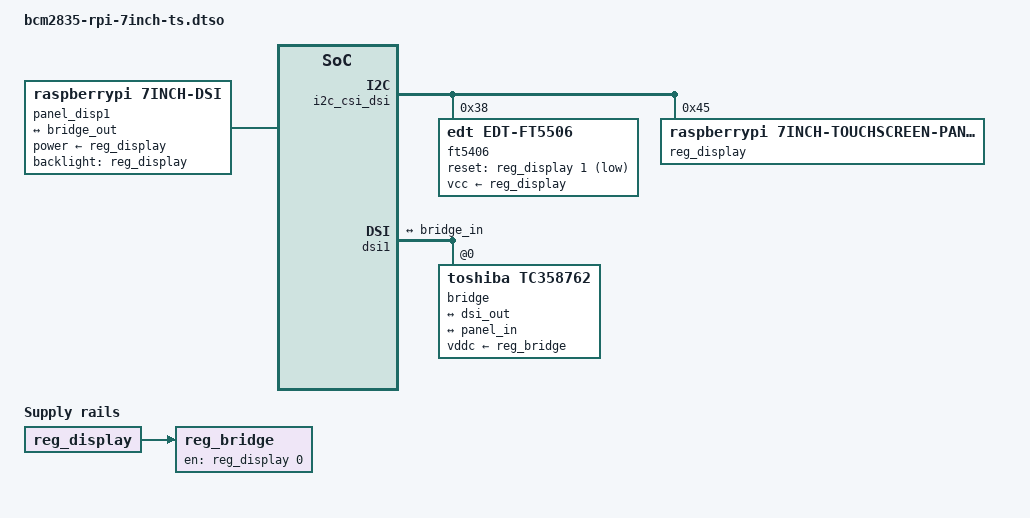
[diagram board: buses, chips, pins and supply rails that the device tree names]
// SPDX-License-Identifier: GPL-2.0

/dts-v1/;
/plugin/;

&{/} {
	panel_disp1: panel {
		compatible = "raspberrypi,7inch-dsi", "simple-panel";
		backlight = <&reg_display>;
		power-supply = <&reg_display>;
		status = "okay";

		port {
			panel_in: endpoint {
				remote-endpoint = <&bridge_out>;
			};
		};
	};

	reg_bridge: regulator {
		compatible = "regulator-fixed";
		regulator-name = "bridge_reg";
		gpio = <&reg_display 0 0>;
		vin-supply = <&reg_display>;
		enable-active-high;
		status = "okay";
	};
};

&i2c_csi_dsi {
	#address-cells = <1>;
	#size-cells = <0>;

	ft5406: touchscreen@38 {
		compatible = "edt,edt-ft5506";
		reg = <0x38>;
		vcc-supply = <&reg_display>;
		reset-gpio = <&reg_display 1 1>;
		touchscreen-size-x = < 800 >;
		touchscreen-size-y = < 480 >;
		touchscreen-inverted-x;
		touchscreen-inverted-y;
		status = "okay";
	};

	reg_display: regulator@45 {
		compatible = "raspberrypi,7inch-touchscreen-panel-regulator";
		reg = <0x45>;
		gpio-controller;
		#gpio-cells = <2>;
		status = "okay";
	};
};

&dsi1 {
	#address-cells = <1>;
	#size-cells = <0>;
	status = "okay";

	bridge@0 {
		compatible = "toshiba,tc358762";
		reg = <0>;
		vddc-supply = <&reg_bridge>;

		ports {
			#address-cells = <1>;
			#size-cells = <0>;

			port@0 {
				reg = <0>;
				bridge_in: endpoint {
					remote-endpoint = <&dsi_out>;
				};
			};

			port@1 {
				reg = <1>;
				bridge_out: endpoint {
					remote-endpoint = <&panel_in>;
				};
			};
		};
	};

	port {
		dsi_out: endpoint {
			remote-endpoint = <&bridge_in>;
		};
	};
};
